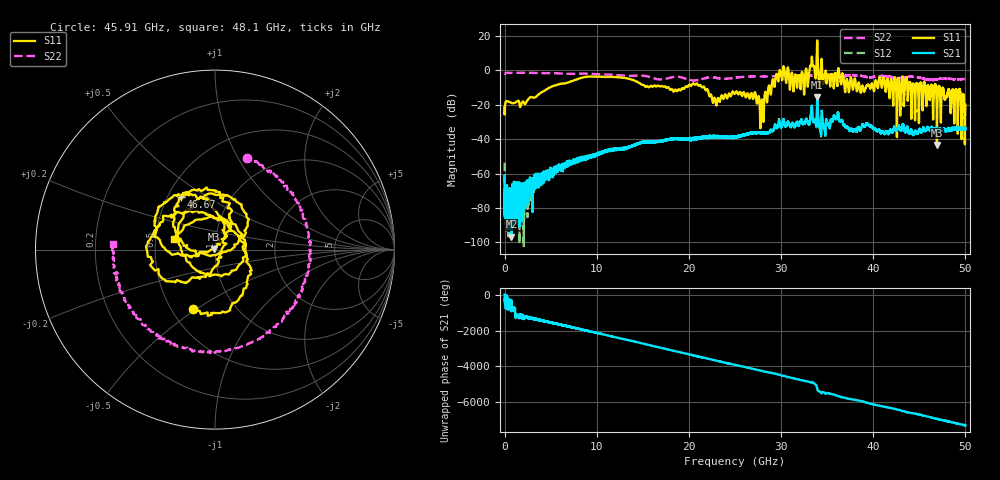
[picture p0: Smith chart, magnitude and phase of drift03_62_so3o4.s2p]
!Created with skrf (http://scikit-rf.org).
# Hz S RI R 50.0
!freq ReS11 ImS11 ReS21 ImS21 ReS12 ImS12 ReS22 ImS22
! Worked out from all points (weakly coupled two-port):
!   10001 points, 300 kHz to 50 GHz, reference 50 ohm
!   highest |S21| = -15.38 dB at 33.93 GHz (marker M1); lowest = -96.5 dB at 735.3 MHz (marker M2)
!   lowest |S11| = -43.3 dB at 46.92 GHz (marker M3), VSWR 1.01, Z = 49.4 + j0.393 ohm
!   |S11| at or under -10 dB: start of sweep to 4.851 GHz; 21.69 GHz to 28.62 GHz (6.933 GHz wide, 27.6 % of centre); 47.2 GHz to end of sweep (the widest 3 of 43)
!   |S22| runs from -5.9 to -1.3 dB; largest |S21 - S12| = 0.018
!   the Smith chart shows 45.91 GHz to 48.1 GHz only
!   S11 on the Smith chart (normalised r, x): 45.91 GHz: 0.64, -0.48; 46.67 GHz: 0.59, +0.39; 48.1 GHz: 0.63, +0.08
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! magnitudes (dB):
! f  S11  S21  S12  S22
! 300 kHz  -21.2  -60.9  -53.6  -2.0
! 255.3 MHz  -17.9  -73.7  -77.8  -1.4
! 735.3 MHz  -19.0  -96.5  -71.5  -1.5
! 8.335 GHz  -4.3  -51.6  -51.4  -1.9
! 16.67 GHz  -8.8  -41.4  -41.2  -5.2
! 21.01 GHz  -8.7  -39.7  -39.5  -5.5
! 22.81 GHz  -16.1  -38.4  -38.6  -4.2
! 25 GHz  -13.4  -38.7  -38.9  -4.3
! 27.02 GHz  -15.8  -36.1  -36.2  -3.5
! 27.92 GHz  -17.1  -36.4  -36.3  -3.5
! 29.69 GHz  -6.4  -32.0  -31.5  -3.1
! 32.32 GHz  -1.5  -30.4  -30.8  -3.2
! 33.34 GHz  8.0  -20.5  -20.8  -2.9
! 33.93 GHz  17.4  -15.4  -15.8  -2.5
! 38.82 GHz  -9.1  -31.4  -31.6  -3.3
! 41.67 GHz  -9.0  -36.8  -36.7  -3.7
! 42.75 GHz  -4.5  -31.7  -32.0  -4.5
! 45.91 GHz  -9.0  -33.0  -33.3  -5.3
! 46.67 GHz  -9.2  -34.1  -34.3  -5.5
! 46.92 GHz  -43.3  -34.3  -34.3  -5.2
! 48.1 GHz  -12.6  -34.5  -34.1  -4.9
! 50 GHz  -20.0  -33.7  -34.1  -5.0
